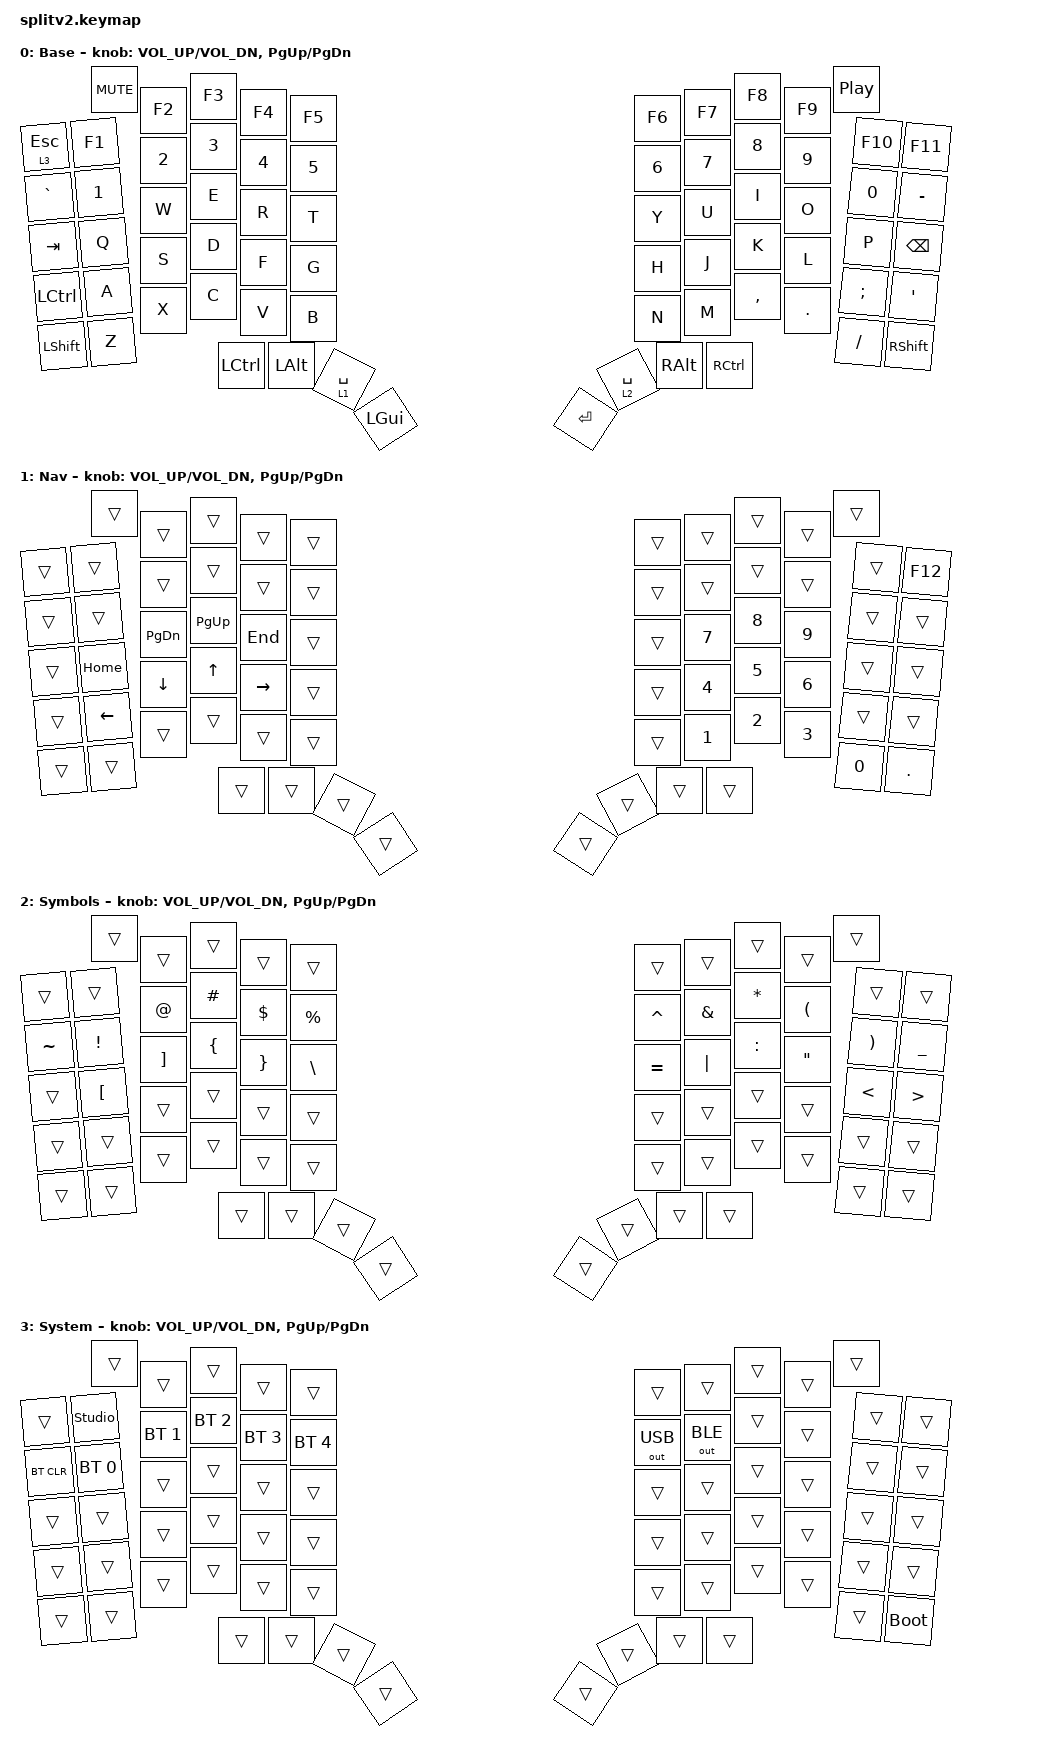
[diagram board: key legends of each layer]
/*
 * Copyright (c) 2026 The ZMK Contributors
 * SPDX-License-Identifier: MIT
 *
 * 34 keys per half, plus the encoder push as the last key of each half.
 * Reading order is outer-to-inner on the left and inner-to-outer on the right.
 *
 * Hold the top-left key for the system layer, then:
 *   F1          unlock ZMK Studio
 *   1-5         select Bluetooth profile 0-4
 *   `           clear Bluetooth bonds
 *   6 / 7       USB output / BLE output
 *   right Shift enter the bootloader on the dongle
 *
 * Copy this file to config/splitv2.keymap to override it without editing the shield.
 */

#include <behaviors.dtsi>
#include <dt-bindings/zmk/keys.h>
#include <dt-bindings/zmk/bt.h>
#include <dt-bindings/zmk/outputs.h>

/ {
    keymap {
        compatible = "zmk,keymap";

        base {
            display-name = "Base";
            bindings = <
                &lt 3 ESC   &kp F1      &kp F2    &kp F3     &kp F4    &kp F5      &kp F6     &kp F7    &kp F8     &kp F9     &kp F10   &kp F11
                &kp GRAVE   &kp N1      &kp N2    &kp N3     &kp N4    &kp N5      &kp N6     &kp N7    &kp N8     &kp N9     &kp N0    &kp MINUS
                &kp TAB     &kp Q       &kp W     &kp E      &kp R     &kp T       &kp Y      &kp U     &kp I      &kp O      &kp P     &kp BSPC
                &kp LCTRL   &kp A       &kp S     &kp D      &kp F     &kp G       &kp H      &kp J     &kp K      &kp L      &kp SEMI  &kp SQT
                &kp LSHFT   &kp Z       &kp X     &kp C      &kp V     &kp B       &kp N      &kp M     &kp COMMA  &kp DOT    &kp FSLH  &kp RSHFT
                &kp LCTRL   &kp LALT    &lt 1 SPACE &kp LGUI   &kp RET   &lt 2 SPACE &kp RALT   &kp RCTRL
                &kp C_MUTE  &kp C_PP
            >;
            sensor-bindings = <&inc_dec_kp C_VOL_UP C_VOL_DN &inc_dec_kp PG_UP PG_DN>;
        };

        nav {
            display-name = "Nav";
            bindings = <
                &trans      &trans      &trans    &trans     &trans    &trans      &trans     &trans    &trans     &trans     &trans    &kp F12
                &trans      &trans      &trans    &trans     &trans    &trans      &trans     &trans    &trans     &trans     &trans    &trans
                &trans      &kp HOME    &kp PG_DN &kp PG_UP  &kp END   &trans      &trans     &kp N7    &kp N8     &kp N9     &trans    &trans
                &trans      &kp LEFT    &kp DOWN  &kp UP     &kp RIGHT &trans      &trans     &kp N4    &kp N5     &kp N6     &trans    &trans
                &trans      &trans      &trans    &trans     &trans    &trans      &trans     &kp N1    &kp N2     &kp N3     &kp N0    &kp DOT
                &trans      &trans      &trans    &trans     &trans    &trans      &trans     &trans
                &trans      &trans
            >;
            sensor-bindings = <&inc_dec_kp C_VOL_UP C_VOL_DN &inc_dec_kp PG_UP PG_DN>;
        };

        sym {
            display-name = "Symbols";
            bindings = <
                &trans      &trans      &trans    &trans     &trans    &trans      &trans     &trans    &trans     &trans     &trans    &trans
                &kp TILDE   &kp EXCL    &kp AT    &kp HASH   &kp DLLR  &kp PRCNT   &kp CARET  &kp AMPS  &kp STAR   &kp LPAR   &kp RPAR  &kp UNDER
                &trans      &kp LBKT    &kp RBKT  &kp LBRC   &kp RBRC  &kp BSLH    &kp EQUAL  &kp PIPE  &kp COLON  &kp DQT    &kp LT    &kp GT
                &trans      &trans      &trans    &trans     &trans    &trans      &trans     &trans    &trans     &trans     &trans    &trans
                &trans      &trans      &trans    &trans     &trans    &trans      &trans     &trans    &trans     &trans     &trans    &trans
                &trans      &trans      &trans    &trans     &trans    &trans      &trans     &trans
                &trans      &trans
            >;
            sensor-bindings = <&inc_dec_kp C_VOL_UP C_VOL_DN &inc_dec_kp PG_UP PG_DN>;
        };

        sys {
            display-name = "System";
            bindings = <
                &trans         &studio_unlock &trans  &trans  &trans  &trans        &trans       &trans  &trans  &trans  &trans  &trans
                &bt BT_CLR     &bt BT_SEL 0   &bt BT_SEL 1 &bt BT_SEL 2 &bt BT_SEL 3 &bt BT_SEL 4 &out OUT_USB &out OUT_BLE &trans &trans &trans &trans
                &trans         &trans         &trans  &trans  &trans  &trans        &trans       &trans  &trans  &trans  &trans  &trans
                &trans         &trans         &trans  &trans  &trans  &trans        &trans       &trans  &trans  &trans  &trans  &trans
                &trans         &trans         &trans  &trans  &trans  &trans        &trans       &trans  &trans  &trans  &trans  &bootloader
                &trans         &trans         &trans  &trans  &trans  &trans        &trans       &trans
                &trans         &trans
            >;
            sensor-bindings = <&inc_dec_kp C_VOL_UP C_VOL_DN &inc_dec_kp PG_UP PG_DN>;
        };
    };
};
